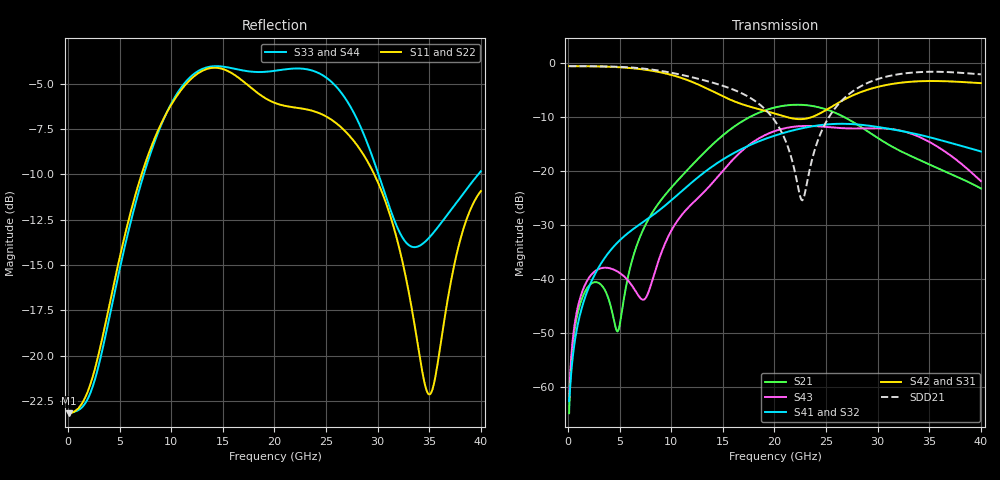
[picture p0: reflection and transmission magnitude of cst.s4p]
! E_s8_L1L3_p1200_round_g2: pair L1→L3, pitch 1.2 mm, two round antipads, 2 GND vias
! stackup: 8-layer 1.6 mm FR-4 (generic)
! ports: 1 P near, 2 N near, 3 P far, 4 N far
! CST Studio Suite 2025.5 Release from 2025-05-30, time domain (FIT, hexahedral, PBA), 168480 mesh cells, 41 s
! mesh: {'lpw': 20, 'lpb': 20, 'minstep': 0.0, 'ratio': 20}; ports: port 1 (face); port 2 (face); port 3 (face); port 4 (face)
! interpolated from CST's 1001 samples to the case grid
# Hz S RI R 50
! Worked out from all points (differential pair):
!   400 points, 100 MHz to 40 GHz, reference 50 ohm
!   strongest paths, dB at 100 MHz, 10.1 GHz, 20.1 GHz, 30.1 GHz, 40 GHz:
!     S42: -0.6, -2.3, -9.4, -4.4, -3.8
!     S31: -0.6, -2.3, -9.4, -4.4, -3.8
!     S41: -62.6, -25.3, -13.4, -11.9, -16.4
!     S32: -61.4, -25.3, -13.4, -11.9, -16.5
!     S43: -62.5, -30.7, -12.6, -12.1, -21.9
!     S21: -64.9, -22.9, -8.2, -14.0, -23.3
!   taken as a pair (ports 2,1 in; 4,3 out), SDD21 dB: -0.6, -1.9, -10.9, -3.0, -2.1
!   lowest |S11| = -23.2 dB at 100 MHz (marker M1), VSWR 1.15, Z = 43.5 + j0.0492 ohm
!   |S11| at or under -10 dB: start of sweep to 7.124 GHz; 29.67 GHz to end of sweep
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1e8  -0.0694 0.000562  -0.000399 0.000583  0.9293 -0.0345  -0.00064 -0.000368
     -0.000153 0.00055  -0.0699 0.000622  -0.00064 -0.000368  0.9293 -0.0345
     0.9293 -0.0345  -0.000774 -0.00035  -0.0699 0.000451  -0.000416 0.00062
     -0.000644 -0.000368  0.9291 -0.0345  -0.000416 0.00062  -0.0699 0.00045
2.1e9  -0.0817 0.0117  0.00785 0.00449  0.6587 -0.6531  -0.00701 -0.00523
       0.00762 0.00441  -0.0813 0.0118  -0.00701 -0.00523  0.6587 -0.6531
       0.6587 -0.6531  -0.00688 -0.00519  -0.078 0.0056  0.00752 0.00731
       -0.00701 -0.00523  0.6589 -0.6531  0.00752 0.00731  -0.078 0.0056
7.8e9  -0.00651 0.3599  0.0326 0.0148  -0.8375 -0.1624  0.0127 0.0342
       0.0325 0.015  -0.00627 0.3594  0.0127 0.0342  -0.8375 -0.1624
       -0.8375 -0.1624  0.0128 0.034  -0.0726 0.3405  0.00631 0.00421
       0.0127 0.0342  -0.8374 -0.1627  0.00631 0.00421  -0.0726 0.3405
1.74e10  -0.1936 -0.5227  -0.1771 0.2503  0.3971 0.0245  -0.0748 0.1518
         -0.1772 0.2507  -0.1934 -0.5233  -0.0748 0.1518  0.3971 0.0245
         0.3971 0.0245  -0.0748 0.1516  -0.4115 -0.4479  0.0132 0.1691
         -0.0748 0.1518  0.3972 0.0241  0.0132 0.1691  -0.4114 -0.4479
2.29e10  -0.2682 0.3965  0.2826 -0.2918  0.1074 -0.2826  0.0643 -0.2418
         0.2831 -0.2916  -0.2689 0.3959  0.0643 -0.2418  0.1074 -0.2826
         0.1074 -0.2826  0.064 -0.242  -0.0527 0.615  0.0439 -0.2564
         0.0643 -0.2419  0.1069 -0.2829  0.0439 -0.2564  -0.0527 0.615
3e10  0.2673 -0.1395  -0.06 0.1926  -0.5906 0.0985  0.1033 0.2328
      -0.0608 0.1922  0.2685 -0.1387  0.1033 0.2328  -0.5906 0.0985
      -0.5905 0.0985  0.1037 0.233  0.2051 -0.247  0.1582 0.1905
      0.1033 0.2328  -0.5897 0.0989  0.1582 0.1905  0.2051 -0.2469
4e10  0.0818 -0.2723  -0.0332 -0.0601  0.4911 -0.4187  -0.1482 0.0288
      -0.035 -0.0591  0.0853 -0.2734  -0.1482 0.0288  0.4911 -0.4187
      0.4912 -0.4187  -0.1473 0.0281  -0.282 0.1566  -0.0783 0.0182
      -0.1482 0.0288  0.4933 -0.4197  -0.0783 0.0182  -0.282 0.1565
